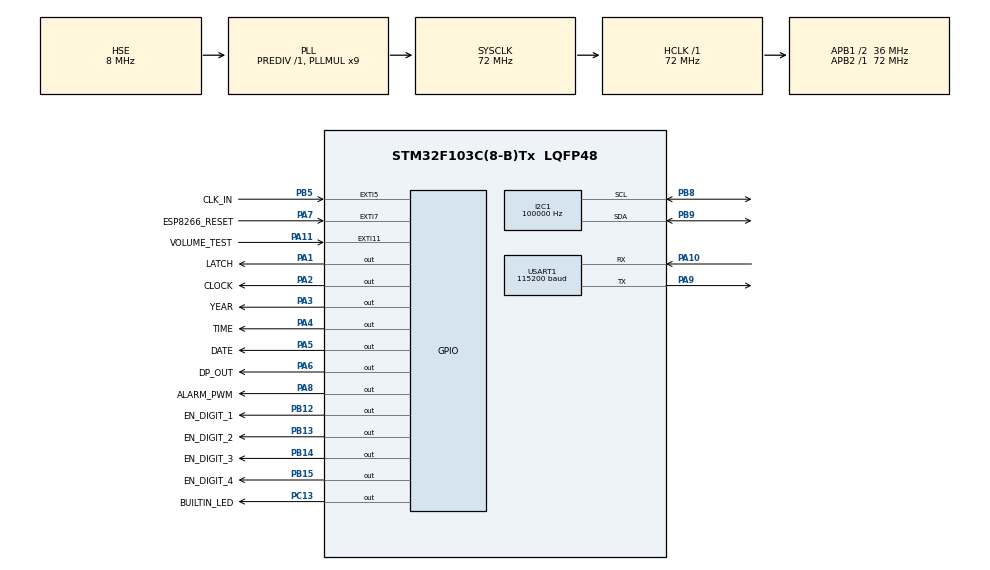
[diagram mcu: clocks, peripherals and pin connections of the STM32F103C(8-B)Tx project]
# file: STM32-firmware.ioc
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Mcu.Family=STM32F1
TIM2.Channel-Output\ Compare1\ No\ Output=TIM_CHANNEL_1
NVIC.DMA1_Channel5_IRQn=true\:0\:0\:false\:false\:true\:false\:true
NVIC.I2C1_EV_IRQn=true\:0\:0\:false\:false\:true\:true\:true
Dma.USART1_TX.1.MemInc=DMA_MINC_ENABLE
USART1.BaudRate=115200
PB14.GPIO_Label=EN_DIGIT_3
PA2.GPIO_Speed=GPIO_SPEED_FREQ_HIGH
Dma.I2C1_TX.3.PeriphInc=DMA_PINC_DISABLE
Dma.I2C1_RX.2.MemDataAlignment=DMA_MDATAALIGN_BYTE
PA6.GPIO_Label=DP_OUT
PA11.GPIO_PuPd=GPIO_PULLUP
PB13.GPIO_Label=EN_DIGIT_2
PA3.GPIO_Speed=GPIO_SPEED_FREQ_HIGH
PB13.Signal=GPIO_Output
PB15.Signal=GPIO_Output
Dma.I2C1_TX.3.Priority=DMA_PRIORITY_VERY_HIGH
RCC.SYSCLKSource=RCC_SYSCLKSOURCE_PLLCLK
ProjectManager.StackSize=0x400
PD1-OSC_OUT.Signal=RCC_OSC_OUT
Dma.I2C1_RX.2.PeriphDataAlignment=DMA_PDATAALIGN_BYTE
I2C1.ClockSpeed=100000
RCC.HCLKFreq_Value=72000000
RCC.APB2TimFreq_Value=72000000
TIM3.Pulse-Output\ Compare1\ No\ Output=65535
RCC.AHBFreq_Value=72000000
Dma.USART1_RX.0.Priority=DMA_PRIORITY_HIGH
NVIC.EXTI15_10_IRQn=true\:0\:0\:false\:false\:true\:true\:true
TIM2.OC1Preload=ENABLE
VP_TIM2_VS_no_output1.Mode=Output Compare1 No Output
RCC.PLLMUL=RCC_PLL_MUL9
PA4.GPIO_Speed=GPIO_SPEED_FREQ_HIGH
Dma.I2C1_RX.2.Mode=DMA_NORMAL
PB12.GPIO_Label=EN_DIGIT_1
Dma.I2C1_TX.3.MemDataAlignment=DMA_MDATAALIGN_BYTE
PA14.Mode=Serial_Wire
TIM2.Pulse-Output\ Compare1\ No\ Output=57600
Dma.I2C1_TX.3.MemInc=DMA_MINC_ENABLE
TIM3.Prescaler=7200
NVIC.TIM2_IRQn=true\:0\:0\:false\:false\:true\:true\:true
Dma.I2C1_TX.3.Direction=DMA_MEMORY_TO_PERIPH
PA8.Signal=GPIO_Output
Dma.I2C1_RX.2.Priority=DMA_PRIORITY_VERY_HIGH
Dma.USART1_RX.0.MemInc=DMA_MINC_ENABLE
Dma.USART1_TX.1.PeriphDataAlignment=DMA_PDATAALIGN_BYTE
PB9.Signal=I2C1_SDA
Mcu.Package=LQFP48
TIM2.Prescaler=5
PA6.Signal=GPIO_Output
TIM2.OCMode_1=TIM_OCMODE_ACTIVE
Dma.I2C1_RX.2.PeriphInc=DMA_PINC_DISABLE
Dma.I2C1_RX.2.Instance=DMA1_Channel7
PA2.GPIO_Label=CLOCK
PA10.Signal=USART1_RX
PA1.PinState=GPIO_PIN_RESET
Dma.I2C1_RX.2.MemInc=DMA_MINC_ENABLE
TIM2.TIM_MasterOutputTrigger=TIM_TRGO_OC1REF
PB5.GPIO_Label=CLK_IN
Dma.Request2=I2C1_RX
Dma.Request1=USART1_TX
RCC.APB1TimFreq_Value=72000000
Dma.Request3=I2C1_TX
Dma.USART1_RX.0.Mode=DMA_CIRCULAR
Dma.USART1_TX.1.Priority=DMA_PRIORITY_HIGH
NVIC.DMA1_Channel4_IRQn=true\:0\:0\:false\:false\:true\:false\:true
NVIC.USART1_IRQn=true\:0\:0\:false\:false\:true\:true\:true
Dma.Request0=USART1_RX
PA4.GPIO_Label=TIME
Dma.USART1_RX.0.Instance=DMA1_Channel5
VP_TIM3_VS_ClockSourceINT.Mode=Internal
PA3.Signal=GPIO_Output
Dma.USART1_TX.1.Direction=DMA_MEMORY_TO_PERIPH
PB5.GPIO_ModeDefaultEXTI=GPIO_MODE_IT_RISING
RCC.PLLSourceVirtual=RCC_PLLSOURCE_HSE
NVIC.DMA1_Channel6_IRQn=true\:0\:0\:false\:false\:true\:false\:true
Dma.USART1_TX.1.Instance=DMA1_Channel4
TIM3.Channel-Output\ Compare1\ No\ Output=TIM_CHANNEL_1
PD1-OSC_OUT.Mode=HSE-External-Oscillator
Dma.USART1_RX.0.PeriphDataAlignment=DMA_PDATAALIGN_BYTE
PA10.Mode=Asynchronous
PA7.GPIO_ModeDefaultEXTI=GPIO_MODE_IT_FALLING
PC13-TAMPER-RTC.Signal=GPIO_Output
PA11.GPIO_Label=VOLUME_TEST
PD0-OSC_IN.Signal=RCC_OSC_IN
RCC.APB1CLKDivider=RCC_HCLK_DIV2
PA13.Signal=SYS_JTMS-SWDIO
PA9.Mode=Asynchronous
PA8.GPIO_Label=ALARM_PWM
ProjectManager.TargetToolchain=TrueSTUDIO
PB14.GPIO_Speed=GPIO_SPEED_FREQ_HIGH
I2C1.I2C_Mode=I2C_Standard
Dma.USART1_RX.0.Direction=DMA_PERIPH_TO_MEMORY
PB9.Mode=I2C
PA9.Signal=USART1_TX
PB13.GPIO_Speed=GPIO_SPEED_FREQ_HIGH
RCC.USBFreq_Value=72000000
PA1.Signal=GPIO_Output
Dma.I2C1_TX.3.PeriphDataAlignment=DMA_PDATAALIGN_BYTE
Dma.USART1_RX.0.PeriphInc=DMA_PINC_DISABLE
PB12.GPIO_Speed=GPIO_SPEED_FREQ_HIGH
PD0-OSC_IN.Mode=HSE-External-Oscillator
PB14.Signal=GPIO_Output
PA5.Signal=GPIO_Output
Dma.USART1_TX.1.MemDataAlignment=DMA_MDATAALIGN_BYTE
board=custom
VP_TIM3_VS_no_output1.Mode=Output Compare1 No Output
PC13-TAMPER-RTC.GPIO_Label=BUILTIN_LED
NVIC.TIM3_IRQn=true\:0\:0\:false\:false\:true\:true\:true
RCC.APB2Freq_Value=72000000
TIM3.OCMode_1=TIM_OCMODE_ACTIVE
PB15.GPIO_Label=EN_DIGIT_4
VP_TIM2_VS_ClockSourceINT.Mode=Internal
PB15.GPIO_Speed=GPIO_SPEED_FREQ_HIGH
PA1.GPIO_Speed=GPIO_SPEED_FREQ_HIGH
PA1.GPIO_Label=LATCH
Dma.USART1_RX.0.MemDataAlignment=DMA_MDATAALIGN_BYTE
TIM2.Period=57600
PA13.Mode=Serial_Wire
Mcu.Name=STM32F103C(8-B)Tx
PA2.Signal=GPIO_Output
Dma.I2C1_TX.3.Instance=DMA1_Channel6
PA4.Signal=GPIO_Output
RCC.SYSCLKFreq_VALUE=72000000
PB5.Signal=GPXTI5
PA7.GPIO_Label=ESP8266_RESET
PA5.GPIO_Label=DATE
Dma.USART1_TX.1.Mode=DMA_NORMAL
USART1.VirtualMode=VM_ASYNC
PA11.Signal=GPXTI11
NVIC.EXTI9_5_IRQn=true\:0\:0\:false\:false\:true\:true\:true
PA14.Signal=SYS_JTCK-SWCLK
ProjectManager.HeapSize=0x200
Dma.USART1_TX.1.PeriphInc=DMA_PINC_DISABLE
PA5.GPIO_Speed=GPIO_SPEED_FREQ_HIGH
NVIC.PriorityGroup=NVIC_PRIORITYGROUP_4
PB8.Mode=I2C
PB8.Signal=I2C1_SCL
TIM2.AutoReloadPreload=TIM_AUTORELOAD_PRELOAD_ENABLE
NVIC.DMA1_Channel7_IRQn=true\:0\:0\:false\:false\:true\:false\:true
PA11.GPIO_ModeDefaultEXTI=GPIO_MODE_IT_FALLING
RCC.APB1Freq_Value=36000000
PB12.Signal=GPIO_Output
Dma.I2C1_TX.3.Mode=DMA_NORMAL
Dma.I2C1_RX.2.Direction=DMA_PERIPH_TO_MEMORY
PA3.GPIO_Label=YEAR
PA7.Signal=GPXTI7

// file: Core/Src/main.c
/* USER CODE BEGIN Header */
/**
  ******************************************************************************
  * @file           : main.c
  * @brief          : Main program body
  ******************************************************************************
  * @attention
  *
  * <h2><center>&copy; Copyright (c) 2020 STMicroelectronics.
  * All rights reserved.</center></h2>
  *
  * This software component is licensed by ST under BSD 3-Clause license,
  * the "License"; You may not use this file except in compliance with the
  * License. You may obtain a copy of the License at:
  *                        opensource.org/licenses/BSD-3-Clause
  *
  ******************************************************************************
  */
/* USER CODE END Header */
#include "main.h"

I2C_HandleTypeDef hi2c1;
DMA_HandleTypeDef hdma_i2c1_rx;
DMA_HandleTypeDef hdma_i2c1_tx;

TIM_HandleTypeDef htim2;
TIM_HandleTypeDef htim3;

UART_HandleTypeDef huart1;
DMA_HandleTypeDef hdma_usart1_rx;
DMA_HandleTypeDef hdma_usart1_tx;

/* USER CODE BEGIN PV */
	// DS3231 I2C Address
		uint8_t DS3231_ADDRESS = 0x68 << 1;

	/* I2C availability flag */
		_Bool I2C_available = 1;

	// Time data to write to DS3231
		uint8_t BCD_data_time[3];
		_Bool newTime = 0;

	// Date data to write to DS3231
		uint8_t BCD_data_date[7];
		_Bool newDate = 0;
		uint8_t BCD_data[7];

	/* I2C read request flag <- Pull time and date data from DS3231 */
		_Bool READ_NOW = 0;

	// Clock and Calendar data read from DS3231
		uint8_t BCD_readData[7];
	// Storage for time data to handle alarms
		uint8_t DEC_readData[2];

	/* Storage space for display digits */
		uint8_t dataOutput[3][4] =
		{
				{2, 0, 0, 0},		// YEAR
				{0, 0, 0, 0},		// TIME
				{0, 1, 0, 1}		// DATE
		};

	// Display digit handler
		uint8_t digitIndex = 0;

	// Alarm handler
		_Bool alarmON = 0;

	/* UART Busy Flag */
		_Bool UART_available = 1;

	/* UART1 transmit/receive command */
		uint8_t RECEIVED_MESSAGE = 0x00;

	/* Storage for data from UART1 */
		uint8_t RX_BUF[5];					// Received data
		uint8_t UART1_TRANSMIT_MESSAGE;		// Data to transmit

	/* UART data for transmission flags */
		_Bool Feedback_Message = 0;		// Availability of feedback message for ESP8266

	/* Alarm handlers */
		_Bool VOLUME_TEST = 0; 		// Testing buzzer melody flag
		_Bool BUZZER_ON = 0;		// Buzzer state flag

		_Bool REPEATED = 0;			// Flag for alarm melody to repeat only once

		uint8_t TIMER_INDEX = 0;			// Melody time frame index
		uint8_t TIMER_PRELOAD_SIZE = 0;		// Number of time frames for a melody

		uint16_t COUNTER_PERIOD = 65535;	// Value to update timer output compare register dynamically

		uint16_t TIMER_PRELOAD[] = {		// Buzzer melody preload values for timer
				10000, 819, 1168, 1104,
				1435, 1175, 3232, 1336,
				3234, 1300, 3317, 1035,
				1091, 985, 1124, 1106
		};

	/* Input pulses handlers */
		uint8_t EXTI_INTERRUPT_COUNTER = 0;		// Counter for 1-Hz input, recognising 5-s interval for time update cycle
		uint8_t ESP8266_RESET_COUNTER = 0;		// Counter taking 1-Hz input clock source for 5-s idle period

		// Storing reset state of ESP8266 to initiate idle period eliminating non-data UART transmission
		_Bool ESP8266_RESET_FLAG = 0;
/* USER CODE END PV */

void SystemClock_Config(void);
static void MX_GPIO_Init(void);
static void MX_DMA_Init(void);
static void MX_USART1_UART_Init(void);
static void MX_I2C1_Init(void);
static void MX_TIM2_Init(void);
static void MX_TIM3_Init(void);
/* USER CODE BEGIN PFP */
uint8_t dec2bcd(uint8_t bin_input);
uint8_t bcd2dec(uint8_t bcd_input);

void displayDataUpdate(uint8_t digitToUpdate);
void singleDigitUpdate(void);

void DATA_EXTRACTION(void);
void clockAlarm(void);
/* USER CODE END PFP */

int main(void)
{

  /* MCU Configuration--------------------------------------------------------*/

  /* Reset of all peripherals, Initializes the Flash interface and the Systick. */
  HAL_Init();

  /* Configure the system clock */
  SystemClock_Config();

  /* Initialize all configured peripherals */
  MX_GPIO_Init();
  MX_DMA_Init();
  MX_USART1_UART_Init();
  MX_I2C1_Init();
  MX_TIM2_Init();
  MX_TIM3_Init();
  /* USER CODE BEGIN 2 */
  HAL_GPIO_WritePin(ALARM_PWM_GPIO_Port, ALARM_PWM_Pin, RESET);
  HAL_GPIO_WritePin(BUILTIN_LED_GPIO_Port, BUILTIN_LED_Pin, SET);
  TIMER_PRELOAD_SIZE = sizeof(TIMER_PRELOAD) / sizeof(TIMER_PRELOAD[0]);

  // Initiate SQW at 1Hz on DS3231
  uint8_t SQW_INIT_COMMAND = 0x00;
  HAL_I2C_Mem_Write(&hi2c1, DS3231_ADDRESS, 0x0E, 1, &SQW_INIT_COMMAND, 1, 500);

  // Turn off display digits
  HAL_GPIO_WritePin(EN_DIGIT_1_GPIO_Port, EN_DIGIT_1_Pin, RESET);
  HAL_GPIO_WritePin(EN_DIGIT_2_GPIO_Port, EN_DIGIT_2_Pin, RESET);
  HAL_GPIO_WritePin(EN_DIGIT_3_GPIO_Port, EN_DIGIT_3_Pin, RESET);
  HAL_GPIO_WritePin(EN_DIGIT_4_GPIO_Port, EN_DIGIT_4_Pin, RESET);

  // Enable multiplexing clock
  HAL_TIM_OC_Start_IT(&htim2, TIM_CHANNEL_1);

  // Enable UART1 to listen to data/requests from ESP8266, delay to neglect any boot message from ESP8266
  HAL_Delay(5000);
  HAL_UART_Receive_DMA(&huart1, RX_BUF, 5);
  /* USER CODE END 2 */

  /* Infinite loop */
  while (1)
  {

    /* USER CODE BEGIN 3 */
	  if (I2C_available)
	  {
		  if (newTime)
		  {
			  I2C_available = 0;
			  newTime = 0;
			  HAL_I2C_Mem_Write_DMA(&hi2c1, DS3231_ADDRESS, 0x00, 1, BCD_data_time, 3);
			  alarmON = 0;
		  }
		  else if (newDate)
		  {
			  I2C_available = 0;
			  newDate = 0;
			  HAL_I2C_Mem_Write_DMA(&hi2c1, DS3231_ADDRESS, 0x03, 1, BCD_data_date, 4);
		  }
		  else if (READ_NOW)
		  {
			  I2C_available = 0;
			  READ_NOW = 0;
			  HAL_I2C_Mem_Read_DMA(&hi2c1, DS3231_ADDRESS, 0x00, 1, BCD_readData, 7);
		  }
	  }

	  if (UART_available)
	  {
		  if (Feedback_Message)
		  {
			  UART_available = 0;
			  Feedback_Message = 0;
			  HAL_UART_Transmit_DMA(&huart1, &UART1_TRANSMIT_MESSAGE, 1);
		  }
		  else
		  {
			  UART_available = 0;
			  HAL_UART_Receive_DMA(&huart1, RX_BUF, 5);			// Continue listening to data/requests from ESP8266
		  }
	  }

	  if (VOLUME_TEST ^ BUZZER_ON)
	  {
		  if (VOLUME_TEST)
		  {
			  BUZZER_ON = 1;

			  TIMER_INDEX = 0;
			  COUNTER_PERIOD = TIMER_PRELOAD[TIMER_INDEX];

			  MX_TIM3_Init();
			  HAL_TIM_OC_Start_IT(&htim3, TIM_CHANNEL_1);

			  HAL_GPIO_WritePin(ALARM_PWM_GPIO_Port, ALARM_PWM_Pin, RESET);
			  HAL_GPIO_WritePin(BUILTIN_LED_GPIO_Port, BUILTIN_LED_Pin, SET);
		  }
		  else
		  {
			  HAL_GPIO_WritePin(ALARM_PWM_GPIO_Port, ALARM_PWM_Pin, RESET);
			  HAL_GPIO_WritePin(BUILTIN_LED_GPIO_Port, BUILTIN_LED_Pin, SET);

			  HAL_TIM_OC_Stop_IT(&htim3, TIM_CHANNEL_1);
		  }
	  }
	  else if (alarmON & (255 == TIMER_INDEX))
	  {
		  TIMER_INDEX = 0;
		  COUNTER_PERIOD = TIMER_PRELOAD[TIMER_INDEX];

		  MX_TIM3_Init();
		  HAL_TIM_OC_Start_IT(&htim3, TIM_CHANNEL_1);

		  HAL_GPIO_WritePin(ALARM_PWM_GPIO_Port, ALARM_PWM_Pin, RESET);
		  HAL_GPIO_WritePin(BUILTIN_LED_GPIO_Port, BUILTIN_LED_Pin, SET);
	  }
  }
  /* USER CODE END 3 */
}

void SystemClock_Config(void)
{
  RCC_OscInitTypeDef RCC_OscInitStruct = {0};
  RCC_ClkInitTypeDef RCC_ClkInitStruct = {0};

  /** Initializes the RCC Oscillators according to the specified parameters
  * in the RCC_OscInitTypeDef structure.
  */
  RCC_OscInitStruct.OscillatorType = RCC_OSCILLATORTYPE_HSE;
  RCC_OscInitStruct.HSEState = RCC_HSE_ON;
  RCC_OscInitStruct.HSEPredivValue = RCC_HSE_PREDIV_DIV1;
  RCC_OscInitStruct.HSIState = RCC_HSI_ON;
  RCC_OscInitStruct.PLL.PLLState = RCC_PLL_ON;
  RCC_OscInitStruct.PLL.PLLSource = RCC_PLLSOURCE_HSE;
  RCC_OscInitStruct.PLL.PLLMUL = RCC_PLL_MUL9;
  if (HAL_RCC_OscConfig(&RCC_OscInitStruct) != HAL_OK)
  {
    Error_Handler();
  }
  /** Initializes the CPU, AHB and APB buses clocks
  */
  RCC_ClkInitStruct.ClockType = RCC_CLOCKTYPE_HCLK|RCC_CLOCKTYPE_SYSCLK
                              |RCC_CLOCKTYPE_PCLK1|RCC_CLOCKTYPE_PCLK2;
  RCC_ClkInitStruct.SYSCLKSource = RCC_SYSCLKSOURCE_PLLCLK;
  RCC_ClkInitStruct.AHBCLKDivider = RCC_SYSCLK_DIV1;
  RCC_ClkInitStruct.APB1CLKDivider = RCC_HCLK_DIV2;
  RCC_ClkInitStruct.APB2CLKDivider = RCC_HCLK_DIV1;

  if (HAL_RCC_ClockConfig(&RCC_ClkInitStruct, FLASH_LATENCY_2) != HAL_OK)
  {
    Error_Handler();
  }
}

static void MX_I2C1_Init(void)
{

  hi2c1.Instance = I2C1;
  hi2c1.Init.ClockSpeed = 100000;
  hi2c1.Init.DutyCycle = I2C_DUTYCYCLE_2;
  hi2c1.Init.OwnAddress1 = 0;
  hi2c1.Init.AddressingMode = I2C_ADDRESSINGMODE_7BIT;
  hi2c1.Init.DualAddressMode = I2C_DUALADDRESS_DISABLE;
  hi2c1.Init.OwnAddress2 = 0;
  hi2c1.Init.GeneralCallMode = I2C_GENERALCALL_DISABLE;
  hi2c1.Init.NoStretchMode = I2C_NOSTRETCH_DISABLE;
  if (HAL_I2C_Init(&hi2c1) != HAL_OK)
  {
    Error_Handler();
  }

}

static void MX_TIM2_Init(void)
{

  TIM_ClockConfigTypeDef sClockSourceConfig = {0};
  TIM_MasterConfigTypeDef sMasterConfig = {0};
  TIM_OC_InitTypeDef sConfigOC = {0};

  htim2.Instance = TIM2;
  htim2.Init.Prescaler = 5;
  htim2.Init.CounterMode = TIM_COUNTERMODE_UP;
  htim2.Init.Period = 57600;
  htim2.Init.ClockDivision = TIM_CLOCKDIVISION_DIV1;
  htim2.Init.AutoReloadPreload = TIM_AUTORELOAD_PRELOAD_ENABLE;
  if (HAL_TIM_Base_Init(&htim2) != HAL_OK)
  {
    Error_Handler();
  }
  sClockSourceConfig.ClockSource = TIM_CLOCKSOURCE_INTERNAL;
  if (HAL_TIM_ConfigClockSource(&htim2, &sClockSourceConfig) != HAL_OK)
  {
    Error_Handler();
  }
  if (HAL_TIM_OC_Init(&htim2) != HAL_OK)
  {
    Error_Handler();
  }
  sMasterConfig.MasterOutputTrigger = TIM_TRGO_OC1REF;
  sMasterConfig.MasterSlaveMode = TIM_MASTERSLAVEMODE_DISABLE;
  if (HAL_TIMEx_MasterConfigSynchronization(&htim2, &sMasterConfig) != HAL_OK)
  {
    Error_Handler();
  }
  sConfigOC.OCMode = TIM_OCMODE_ACTIVE;
  sConfigOC.Pulse = 57600;
  sConfigOC.OCPolarity = TIM_OCPOLARITY_HIGH;
  sConfigOC.OCFastMode = TIM_OCFAST_DISABLE;
  if (HAL_TIM_OC_ConfigChannel(&htim2, &sConfigOC, TIM_CHANNEL_1) != HAL_OK)
  {
    Error_Handler();
  }
  __HAL_TIM_ENABLE_OCxPRELOAD(&htim2, TIM_CHANNEL_1);

}

static void MX_TIM3_Init(void)
{

  TIM_ClockConfigTypeDef sClockSourceConfig = {0};
  TIM_MasterConfigTypeDef sMasterConfig = {0};
  TIM_OC_InitTypeDef sConfigOC = {0};

  htim3.Instance = TIM3;
  htim3.Init.Prescaler = 7200;
  htim3.Init.CounterMode = TIM_COUNTERMODE_UP;
  htim3.Init.Period = COUNTER_PERIOD;
  htim3.Init.ClockDivision = TIM_CLOCKDIVISION_DIV1;
  htim3.Init.AutoReloadPreload = TIM_AUTORELOAD_PRELOAD_DISABLE;
  if (HAL_TIM_Base_Init(&htim3) != HAL_OK)
  {
    Error_Handler();
  }
  sClockSourceConfig.ClockSource = TIM_CLOCKSOURCE_INTERNAL;
  if (HAL_TIM_ConfigClockSource(&htim3, &sClockSourceConfig) != HAL_OK)
  {
    Error_Handler();
  }
  if (HAL_TIM_OC_Init(&htim3) != HAL_OK)
  {
    Error_Handler();
  }
  sMasterConfig.MasterOutputTrigger = TIM_TRGO_RESET;
  sMasterConfig.MasterSlaveMode = TIM_MASTERSLAVEMODE_DISABLE;
  if (HAL_TIMEx_MasterConfigSynchronization(&htim3, &sMasterConfig) != HAL_OK)
  {
    Error_Handler();
  }
  sConfigOC.OCMode = TIM_OCMODE_ACTIVE;
  sConfigOC.Pulse = COUNTER_PERIOD;
  sConfigOC.OCPolarity = TIM_OCPOLARITY_HIGH;
  sConfigOC.OCFastMode = TIM_OCFAST_DISABLE;
  if (HAL_TIM_OC_ConfigChannel(&htim3, &sConfigOC, TIM_CHANNEL_1) != HAL_OK)
  {
    Error_Handler();
  }

}

static void MX_USART1_UART_Init(void)
{

  huart1.Instance = USART1;
  huart1.Init.BaudRate = 115200;
  huart1.Init.WordLength = UART_WORDLENGTH_8B;
  huart1.Init.StopBits = UART_STOPBITS_1;
  huart1.Init.Parity = UART_PARITY_NONE;
  huart1.Init.Mode = UART_MODE_TX_RX;
  huart1.Init.HwFlowCtl = UART_HWCONTROL_NONE;
  huart1.Init.OverSampling = UART_OVERSAMPLING_16;
  if (HAL_UART_Init(&huart1) != HAL_OK)
  {
    Error_Handler();
  }

}

static void MX_DMA_Init(void)
{

  /* DMA controller clock enable */
  __HAL_RCC_DMA1_CLK_ENABLE();

  /* DMA interrupt init */
  /* DMA1_Channel4_IRQn interrupt configuration */
  HAL_NVIC_SetPriority(DMA1_Channel4_IRQn, 0, 0);
  HAL_NVIC_EnableIRQ(DMA1_Channel4_IRQn);
  /* DMA1_Channel5_IRQn interrupt configuration */
  HAL_NVIC_SetPriority(DMA1_Channel5_IRQn, 0, 0);
  HAL_NVIC_EnableIRQ(DMA1_Channel5_IRQn);
  /* DMA1_Channel6_IRQn interrupt configuration */
  HAL_NVIC_SetPriority(DMA1_Channel6_IRQn, 0, 0);
  HAL_NVIC_EnableIRQ(DMA1_Channel6_IRQn);
  /* DMA1_Channel7_IRQn interrupt configuration */
  HAL_NVIC_SetPriority(DMA1_Channel7_IRQn, 0, 0);
  HAL_NVIC_EnableIRQ(DMA1_Channel7_IRQn);

}

static void MX_GPIO_Init(void)
{
  GPIO_InitTypeDef GPIO_InitStruct = {0};

  /* GPIO Ports Clock Enable */
  __HAL_RCC_GPIOC_CLK_ENABLE();
  __HAL_RCC_GPIOD_CLK_ENABLE();
  __HAL_RCC_GPIOA_CLK_ENABLE();
  __HAL_RCC_GPIOB_CLK_ENABLE();

  /*Configure GPIO pin Output Level */
  HAL_GPIO_WritePin(BUILTIN_LED_GPIO_Port, BUILTIN_LED_Pin, GPIO_PIN_RESET);

  /*Configure GPIO pin Output Level */
  HAL_GPIO_WritePin(GPIOA, LATCH_Pin|CLOCK_Pin|YEAR_Pin|TIME_Pin
                          |DATE_Pin|DP_OUT_Pin|ALARM_PWM_Pin, GPIO_PIN_RESET);

  /*Configure GPIO pin Output Level */
  HAL_GPIO_WritePin(GPIOB, EN_DIGIT_1_Pin|EN_DIGIT_2_Pin|EN_DIGIT_3_Pin|EN_DIGIT_4_Pin, GPIO_PIN_RESET);

  /*Configure GPIO pin : BUILTIN_LED_Pin */
  GPIO_InitStruct.Pin = BUILTIN_LED_Pin;
  GPIO_InitStruct.Mode = GPIO_MODE_OUTPUT_PP;
  GPIO_InitStruct.Pull = GPIO_NOPULL;
  GPIO_InitStruct.Speed = GPIO_SPEED_FREQ_LOW;
  HAL_GPIO_Init(BUILTIN_LED_GPIO_Port, &GPIO_InitStruct);

  /*Configure GPIO pins : LATCH_Pin CLOCK_Pin YEAR_Pin TIME_Pin
                           DATE_Pin */
  GPIO_InitStruct.Pin = LATCH_Pin|CLOCK_Pin|YEAR_Pin|TIME_Pin
                          |DATE_Pin;
  GPIO_InitStruct.Mode = GPIO_MODE_OUTPUT_PP;
  GPIO_InitStruct.Pull = GPIO_NOPULL;
  GPIO_InitStruct.Speed = GPIO_SPEED_FREQ_HIGH;
  HAL_GPIO_Init(GPIOA, &GPIO_InitStruct);

  /*Configure GPIO pins : DP_OUT_Pin ALARM_PWM_Pin */
  GPIO_InitStruct.Pin = DP_OUT_Pin|ALARM_PWM_Pin;
  GPIO_InitStruct.Mode = GPIO_MODE_OUTPUT_PP;
  GPIO_InitStruct.Pull = GPIO_NOPULL;
  GPIO_InitStruct.Speed = GPIO_SPEED_FREQ_LOW;
  HAL_GPIO_Init(GPIOA, &GPIO_InitStruct);

  /*Configure GPIO pin : ESP8266_RESET_Pin */
  GPIO_InitStruct.Pin = ESP8266_RESET_Pin;
  GPIO_InitStruct.Mode = GPIO_MODE_IT_FALLING;
  GPIO_InitStruct.Pull = GPIO_NOPULL;
  HAL_GPIO_Init(ESP8266_RESET_GPIO_Port, &GPIO_InitStruct);

  /*Configure GPIO pins : EN_DIGIT_1_Pin EN_DIGIT_2_Pin EN_DIGIT_3_Pin EN_DIGIT_4_Pin */
  GPIO_InitStruct.Pin = EN_DIGIT_1_Pin|EN_DIGIT_2_Pin|EN_DIGIT_3_Pin|EN_DIGIT_4_Pin;
  GPIO_InitStruct.Mode = GPIO_MODE_OUTPUT_PP;
  GPIO_InitStruct.Pull = GPIO_NOPULL;
  GPIO_InitStruct.Speed = GPIO_SPEED_FREQ_HIGH;
  HAL_GPIO_Init(GPIOB, &GPIO_InitStruct);

  /*Configure GPIO pin : VOLUME_TEST_Pin */
  GPIO_InitStruct.Pin = VOLUME_TEST_Pin;
  GPIO_InitStruct.Mode = GPIO_MODE_IT_FALLING;
  GPIO_InitStruct.Pull = GPIO_PULLUP;
  HAL_GPIO_Init(VOLUME_TEST_GPIO_Port, &GPIO_InitStruct);

  /*Configure GPIO pin : CLK_IN_Pin */
  GPIO_InitStruct.Pin = CLK_IN_Pin;
  GPIO_InitStruct.Mode = GPIO_MODE_IT_RISING;
  GPIO_InitStruct.Pull = GPIO_NOPULL;
  HAL_GPIO_Init(CLK_IN_GPIO_Port, &GPIO_InitStruct);

  /* EXTI interrupt init*/
  HAL_NVIC_SetPriority(EXTI9_5_IRQn, 0, 0);
  HAL_NVIC_EnableIRQ(EXTI9_5_IRQn);

  HAL_NVIC_SetPriority(EXTI15_10_IRQn, 0, 0);
  HAL_NVIC_EnableIRQ(EXTI15_10_IRQn);

}

/* USER CODE BEGIN 4 */
void displayDataUpdate(uint8_t digitToUpdate)
{
	HAL_GPIO_WritePin (LATCH_GPIO_Port, LATCH_Pin, RESET);	// Pull LATCH pin LOW to push data to shift registers

	for (uint8_t index = 0; index <= 3; index++)
	{
		HAL_GPIO_WritePin(CLOCK_GPIO_Port, CLOCK_Pin, RESET);	// Prepares for next bit input by pulling CLOCK pin LOW
		HAL_GPIO_WritePin( YEAR_GPIO_Port,  YEAR_Pin, (dataOutput[0][digitToUpdate] & (1 << index)) >> index);
		HAL_GPIO_WritePin( TIME_GPIO_Port,  TIME_Pin, (dataOutput[1][digitToUpdate] & (1 << index)) >> index);
		HAL_GPIO_WritePin( DATE_GPIO_Port,  DATE_Pin, (dataOutput[2][digitToUpdate] & (1 << index)) >> index);
		HAL_GPIO_WritePin(CLOCK_GPIO_Port, CLOCK_Pin, SET);		// Shifts next input bit by pulling CLOCK pin HIGH
	}
}

void singleDigitUpdate(void)
{
	// Pull LATCH pin HIGH to update output on shift registers
	HAL_GPIO_WritePin(LATCH_GPIO_Port, LATCH_Pin, SET);

	// Turn on updated digits
	if (0 == digitIndex)
	{
		HAL_GPIO_WritePin(EN_DIGIT_4_GPIO_Port, EN_DIGIT_4_Pin, RESET);
		HAL_GPIO_WritePin(EN_DIGIT_1_GPIO_Port, EN_DIGIT_1_Pin, SET);
	}
	else if (1 == digitIndex)
	{
		HAL_GPIO_WritePin(EN_DIGIT_1_GPIO_Port, EN_DIGIT_1_Pin, RESET);
		HAL_GPIO_WritePin(EN_DIGIT_2_GPIO_Port, EN_DIGIT_2_Pin, SET);
	}
	else if (2 == digitIndex)
	{
		HAL_GPIO_WritePin(EN_DIGIT_2_GPIO_Port, EN_DIGIT_2_Pin, RESET);
		HAL_GPIO_WritePin(EN_DIGIT_3_GPIO_Port, EN_DIGIT_3_Pin, SET);
	}
	else if (3 == digitIndex)
	{
		HAL_GPIO_WritePin(EN_DIGIT_3_GPIO_Port, EN_DIGIT_3_Pin, RESET);
		HAL_GPIO_WritePin(EN_DIGIT_4_GPIO_Port, EN_DIGIT_4_Pin, SET);
	}

	// Prepare multiplexing on the next digits
	digitIndex += 1;
	if (4 == digitIndex)
		digitIndex = 0;
}

uint8_t dec2bcd(uint8_t bin_input)		// Converts number from decimal format to BCD format
{
	return (((bin_input / 10) << 4) | (bin_input % 10));
}

uint8_t bcd2dec(uint8_t bcd_input)		// Converts number from BCD format to decimal format
{
	return (((bcd_input & 0xF0) >> 4) * 10) + (bcd_input & 0x0F);
}

void DATA_EXTRACTION(void)		// Update dataOutput[][] every time data is pulled from DS3231
{
	// Extract year digits
	dataOutput[0][2] = (BCD_readData[6] & 0xF0) >> 4;	// Tens digit from DS3231 year data in BCD format
	dataOutput[0][3] =  BCD_readData[6] & 0x0F;			// Unit digit from DS3231 year data in BCD format

	// Extract hour digits
	dataOutput[1][0] = (BCD_readData[2] & 0x30) >> 4;	// Tens digit from DS3231 hour data in BCD format
	dataOutput[1][1] =  BCD_readData[2] & 0x0F;			// Unit digit from DS3231 hour data in BCD format

	// Extract minute digits
	dataOutput[1][2] = (BCD_readData[1] & 0xF0) >> 4;	// Tens digit from DS3231 minute data in BCD format
	dataOutput[1][3] =  BCD_readData[1] & 0x0F;			// Unit digit from DS3231 minute data in BCD format

	// Extract date digits
	dataOutput[2][0] = (BCD_readData[4] & 0xF0) >> 4;	// Tens digit from DS3231 date data in BCD format
	dataOutput[2][1] =  BCD_readData[4] & 0x0F;			// Unit digit from DS3231 date data in BCD format

	// Extract month digits
	dataOutput[2][2] = (BCD_readData[5] & 0x10) >> 4;	// Tens digit from DS3231 month data in BCD format
	dataOutput[2][3] =  BCD_readData[5] & 0x0F;			// Unit digit from DS3231 month data in BCD format

	// Update alarm checking storage
	DEC_readData[0] = bcd2dec(BCD_readData[2]);		// Hour value
	DEC_readData[1] = bcd2dec(BCD_readData[1]);		// Minute value
}

void clockAlarm(void)	// Handler of alarm flag and alarm request
{
	// Check if current time is exactly 7:00, 11:00, 13:00, or 17:00 (neglecting seconds)
	_Bool AlarmCondition = 1;
	AlarmCondition &= (DEC_readData[1] == 0);
	AlarmCondition &= (((BCD_readData[2] & 0x0F) == 7) | (DEC_readData[0] == 11) | (DEC_readData[0] == 13));

	if (AlarmCondition) 	// Current time is 7:00, 11:00, 13:00, or 17:00
	{
		if ((!alarmON) & (!VOLUME_TEST))	// Alarm is off and volume test condition is FALSE
		{
			// Enable alarm
			alarmON = 1;
			TIMER_INDEX = 255;
			REPEATED = 0;
		}
	}
	else if (alarmON)		// Current time has passed alarm point
	{
		alarmON = 0;	// Disable alarm flag
	}
}

void HAL_TIM_OC_DelayElapsedCallback(TIM_HandleTypeDef * htim)
{
	if (htim == &htim2)			// Multiplexing with ~5ms interval
	{
		displayDataUpdate(digitIndex);	// Push data for the next digit to be updated
		singleDigitUpdate();			// Enable the updated digit
	}
	else if (htim == &htim3)
	{
		TIMER_INDEX += 1;
		if (TIMER_PRELOAD_SIZE > TIMER_INDEX)
		{
			HAL_GPIO_TogglePin(ALARM_PWM_GPIO_Port, ALARM_PWM_Pin);
			HAL_GPIO_TogglePin(BUILTIN_LED_GPIO_Port, BUILTIN_LED_Pin);
			COUNTER_PERIOD = TIMER_PRELOAD[TIMER_INDEX];

			MX_TIM3_Init();
			HAL_TIM_OC_Start_IT(&htim3, TIM_CHANNEL_1);
		}
		else if (VOLUME_TEST)
		{
			HAL_GPIO_WritePin(ALARM_PWM_GPIO_Port, ALARM_PWM_Pin, RESET);
			HAL_GPIO_WritePin(BUILTIN_LED_GPIO_Port, BUILTIN_LED_Pin, SET);

			TIMER_INDEX = 0;
			COUNTER_PERIOD = TIMER_PRELOAD[TIMER_INDEX];

			MX_TIM3_Init();
			HAL_TIM_OC_Start_IT(&htim3, TIM_CHANNEL_1);
		}
		else if (!REPEATED)
		{
			HAL_GPIO_WritePin(ALARM_PWM_GPIO_Port, ALARM_PWM_Pin, RESET);
			HAL_GPIO_WritePin(BUILTIN_LED_GPIO_Port, BUILTIN_LED_Pin, SET);

			REPEATED = 1;
			TIMER_INDEX = 0;
			COUNTER_PERIOD = TIMER_PRELOAD[TIMER_INDEX];

			MX_TIM3_Init();
			HAL_TIM_OC_Start_IT(&htim3, TIM_CHANNEL_1);
		}
		else
		{
			HAL_GPIO_WritePin(ALARM_PWM_GPIO_Port, ALARM_PWM_Pin, RESET);
			HAL_GPIO_WritePin(BUILTIN_LED_GPIO_Port, BUILTIN_LED_Pin, SET);
			HAL_TIM_OC_Stop_IT(&htim3, TIM_CHANNEL_1);
		}
	}
}

void HAL_GPIO_EXTI_Callback(uint16_t GPIO_Pin)
{
	if (GPIO_Pin == CLK_IN_Pin)
	{
		HAL_GPIO_TogglePin(DP_OUT_GPIO_Port, DP_OUT_Pin);
		EXTI_INTERRUPT_COUNTER += 1;

		if (5 == EXTI_INTERRUPT_COUNTER)	// Pull clock and calendar data from DS3231 every 5s
		{
			EXTI_INTERRUPT_COUNTER = 0;		// Reset counter
			READ_NOW = 1;					// Enable read flag
		}

		if (ESP8266_RESET_FLAG)
		{
			ESP8266_RESET_COUNTER += 1;

			if (5 == ESP8266_RESET_COUNTER)
			{
				ESP8266_RESET_FLAG = 0;
				HAL_UART_DMAResume(&huart1);
			}
		}
	}
	else if (GPIO_Pin == ESP8266_RESET_Pin)
	{
		HAL_UART_DMAPause(&huart1);
		ESP8266_RESET_COUNTER = 0;
		ESP8266_RESET_FLAG = 1;
	}
	else if (GPIO_Pin == VOLUME_TEST_Pin)
	{
		if (VOLUME_TEST)
		{
			VOLUME_TEST = 0;
		}
		else
		{
			VOLUME_TEST = 1;
			BUZZER_ON = 0;
		}
	}
	else
	{
		__NOP();
	}
}

void HAL_I2C_MemRxCpltCallback (I2C_HandleTypeDef * hi2c)
{
	DATA_EXTRACTION();
	clockAlarm();

	I2C_available = 1;
}

void HAL_I2C_MemTxCpltCallback (I2C_HandleTypeDef * hi2c)
{
	I2C_available = 1;
}

void HAL_UART_TxCpltCallback (UART_HandleTypeDef * huart)
{
	UART_available = 1;
}

void HAL_UART_RxCpltCallback (UART_HandleTypeDef * huart)
{
	UART_available = 1;

	if (huart == &huart1)
	{
		_Bool dataCheck = 1;	// Validates received data from ESP8266
		if ('T' == RX_BUF[0])	// Data received from ESP8266 is time data
		{
			dataCheck &= ((0 <= RX_BUF[1]) & (RX_BUF[1] <= 23));	// RX_BUF[1] should be hour value ranging from 0 to 23
			dataCheck &= ((0 <= RX_BUF[2]) & (RX_BUF[2] <= 59));	// RX_BUF[2] should be minute value ranging from 0 to 59

			if (dataCheck)	// Data is valid
			{
				newTime = 10;	// Force disabling availability flag to update new data
				UART1_TRANSMIT_MESSAGE = 'O';	// Feedback message is 'ACKNOWLEDGED'

				BCD_data_time[0] = 55;					// Second = 10
				BCD_data_time[1] = dec2bcd(RX_BUF[2]);	// Get minute value in BCD format to update DS3231
				BCD_data_time[2] = dec2bcd(RX_BUF[1]);	// Get hour value in BCD format to update DS3231

				newTime = 1;	// New time data has been issued
			}
			else			// Data received is not valid
			{
				UART1_TRANSMIT_MESSAGE = 'r';	// Feedback message is a request for ESP8266 to re-send data
			}

		}
		else if ('D' == RX_BUF[0])	// Data received from ESP8266 is date data
		{
			dataCheck &= ((1 <= RX_BUF[1]) & (RX_BUF[1] <= 31));	// RX_BUF[1] should be date value ranging from 1 to 31
			dataCheck &= ((1 <= RX_BUF[2]) & (RX_BUF[2] <= 12));	// RX_BUF[2] should be month value ranging from 1 to 12

			uint16_t temp = (((uint16_t)RX_BUF[3]) << 8) | ((uint16_t)RX_BUF[4]);	// Acquire 16-bit year value
			dataCheck &= ((1980 <= temp) & (temp <= 2099));			// Year value should be from 1980 to 2099 (supported by DS3231)

			if (dataCheck)	// Data is valid
			{
				newDate = 0;	// Force disabling availability flag to update new data
				UART1_TRANSMIT_MESSAGE = 'O';	// Feedback message is 'ACKNOWLEDGED'

				BCD_data_date[1] = dec2bcd(RX_BUF[1]);		// Get date of month value in BCD format to update DS3231
				BCD_data_date[2] = dec2bcd(RX_BUF[2]);		// Get month value in BCD format to update DS3231
				BCD_data_date[3] = dec2bcd(temp - 2000);	// Get year value in BCD format to update DS3231 (Only years from 2000 to 2099 are valid)

				uint8_t DoW = (RX_BUF[1]+=RX_BUF[2]<3?temp--:temp-2,23*RX_BUF[2]/9+RX_BUF[1]+4+temp/4-temp/100+temp/400)%7;
				BCD_data_date[0] = DoW + 1;					// Day of week: 1 = Sunday, 2 = Monday, etc.

				newDate = 1;	// New date data has been issued
			}
			else			// Data received is not valid
			{
				UART1_TRANSMIT_MESSAGE = 'r';	// Feedback message is a request for ESP8266 to re-send data
			}
		}
		else if ('r' == RX_BUF[0])	// Unable to recognise what kind of data/request transmitted by ESP8266
		{
			__NOP();
		}
		else
		{
			UART1_TRANSMIT_MESSAGE = 'r';	// Feedback message is a request for ESP8266 to re-send data
		}

		// Enable transmitting feedback message to ESP8266
		Feedback_Message = 1;
	}
}

/* USER CODE END 4 */

void Error_Handler(void)
{
}

/************************ (C) COPYRIGHT STMicroelectronics *****END OF FILE****/
